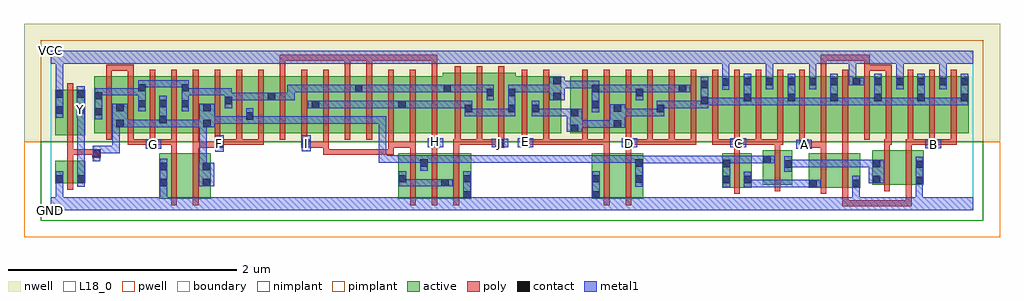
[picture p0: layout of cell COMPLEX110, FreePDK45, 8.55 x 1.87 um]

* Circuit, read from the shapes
.subckt COMPLEX110 A B C D E F G GND H I J VCC Y
M1 Y n1 GND VSUBS nfet w=0.2u l=0.05u
M2 n2 G GND VSUBS nfet w=0.4u l=0.05u
M3 n1 F n2 VSUBS nfet w=0.4u l=0.05u
M4 n1 I n3 VSUBS nfet w=0.4u l=0.05u
M5 n3 H n1 VSUBS nfet w=0.4u l=0.05u
M6 GND J n3 VSUBS nfet w=0.4u l=0.05u
M7 n4 E GND VSUBS nfet w=0.4u l=0.05u
M8 n1 D n4 VSUBS nfet w=0.4u l=0.05u
M9 n5 C n1 VSUBS nfet w=0.3u l=0.05u
M10 n6 C n1 VSUBS nfet w=0.3u l=0.05u
M11 n7 A n5 VSUBS nfet w=0.3u l=0.05u
M12 GND B n7 VSUBS nfet w=0.3u l=0.05u
M13 n8 A n6 VSUBS nfet w=0.3u l=0.05u
M14 GND B n8 VSUBS nfet w=0.3u l=0.05u
M15 Y n1 VCC n9 pfet w=0.4u l=0.05u
M16 n1 G n10 n9 pfet w=0.5u l=0.05u m=4
M17 n1 F n10 n9 pfet w=0.5u l=0.05u m=4
M18 n11 H n10 n9 pfet w=0.5u l=0.05u
M19 n12 I n11 n9 pfet w=0.5u l=0.05u
M20 n13 I n12 n9 pfet w=0.5u l=0.05u
M21 n10 H n13 n9 pfet w=0.5u l=0.05u
M22 n14 H n10 n9 pfet w=0.5u l=0.05u
M23 n12 I n14 n9 pfet w=0.5u l=0.05u
M24 n15 I n12 n9 pfet w=0.5u l=0.05u
M25 n10 H n15 n9 pfet w=0.5u l=0.05u
M26 n12 J n10 n9 pfet w=0.532u l=0.05u m=3
M27 n16 E n12 n9 pfet w=0.5u l=0.05u m=4
M28 n12 D n16 n9 pfet w=0.5u l=0.05u m=4
M29 VCC C n16 n9 pfet w=0.5u l=0.05u m=4
M30 VCC A n16 n9 pfet w=0.5u l=0.05u m=4
M31 VCC B n16 n9 pfet w=0.5u l=0.05u m=4
.ends

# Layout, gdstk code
import gdstk
lib = gdstk.Library(unit=1e-6, precision=1e-09)
def R(c, l, rs):  # rectangles x0, y0, x1, y1
    for r in rs: c.add(gdstk.rectangle(r[:2], r[2:], *l))
def A(c, l, x, y, w, h, nx, ny, dx, dy):  # array of equal rectangles
    R(c, l, [(x+i*dx, y+j*dy, x+i*dx+w, y+j*dy+h) for i in range(nx) for j in range(ny)])
active = (1, 0)
pwell = (2, 0)
nwell = (3, 0)
nimplant = (4, 0)
pimplant = (5, 0)
poly = (9, 0)
contact = (10, 0)
metal1 = (11, 0)
L18_0 = (18, 0)
boundary = (235, 0)

complex110 = lib.new_cell('COMPLEX110')
A(complex110, active, 2.125, 0.675, 0.23, 0.5, 3, 1, 0.38, 0)
A(complex110, active, 2.28, 0.675, 0.225, 0.5, 3, 1, 0.38, 0)
A(complex110, active, 4.55, 0.675, 0.26, 0.5, 3, 1, 0.57, 0)
A(complex110, active, 4.735, 0.675, 0.265, 0.5, 3, 1, 0.57, 0)
A(complex110, active, 4.925, 0.675, 0.27, 0.5, 3, 1, 0.57, 0)
A(complex110, active, 0.76, 0.762, 0.075, 0.405, 3, 1, 0.38, 0)
R(complex110, active, [(0.95,0.1,1.175,0.5), (1.175,0.1,1.4,0.5), (3.042,0.1,3.307,0.5), (3.232,0.1,3.492,0.5), (3.417,0.1,3.682,0.5), (3.607,0.1,3.682,0.5), (4.74,0.1,4.965,0.5), (4.74,0.1,4.815,0.5), (4.965,0.1,5.19,0.5), (0.95,0.147,1.025,0.5), (1.325,0.147,1.4,0.5), (3.042,0.147,3.117,0.5), (3.232,0.147,3.307,0.492), (3.417,0.147,3.492,0.492), (5.115,0.147,5.19,0.5), (5.88,0.2,6.14,0.5), (6.065,0.2,6.14,0.5), (6.64,0.2,6.865,0.5), (6.64,0.2,6.715,0.5), (6.865,0.2,7.09,0.5), (7.015,0.2,7.09,0.5), (5.88,0.207,5.955,0.5), (6.237,0.225,6.497,0.525), (7.195,0.225,7.42,0.525), (7.195,0.225,7.27,0.525), (7.42,0.225,7.645,0.525), (7.57,0.227,7.645,0.525), (0.04,0.237,0.115,0.437), (0.04,0.237,0.3,0.437), (0.225,0.237,0.3,0.437), (6.237,0.247,6.312,0.525), (6.422,0.247,6.497,0.525), (0.04,0.657,0.115,1.057), (0.04,0.657,0.3,1.057), (0.225,0.657,0.3,1.057), (0.38,0.675,0.455,1.167), (0.38,0.675,0.645,1.175), (0.57,0.675,0.835,1.175), (0.57,0.675,0.645,1.07), (0.76,0.675,1.02,1.175), (0.945,0.675,1.215,1.175), (0.945,0.675,1.02,1.07), (1.14,0.675,1.405,1.175), (1.33,0.675,1.595,1.175), (1.33,0.675,1.405,1.07), (1.52,0.675,1.78,1.175), (1.705,0.675,1.97,1.175), (1.705,0.675,1.78,1.07), (1.895,0.675,2.125,1.175), (3.265,0.675,3.51,1.175), (3.435,0.675,3.695,1.207), (3.62,0.675,3.887,1.207), (3.812,0.675,4.075,1.207), (4,0.675,4.285,1.175), (4.21,0.675,4.47,1.175), (4.395,0.675,4.47,1.175), (4.55,0.675,4.625,1.07), (4.735,0.675,4.81,1.167), (4.925,0.675,5,1.07), (5.305,0.675,5.38,1.07), (5.69,0.675,5.765,1.167), (6.065,0.675,6.14,1.167), (6.26,0.675,6.525,1.175), (6.26,0.675,6.335,1.175), (6.45,0.675,6.712,1.175), (6.637,0.675,6.9,1.175), (6.825,0.675,7.095,1.175), (6.825,0.675,6.9,1.175), (7.02,0.675,7.095,1.167), (7.02,0.675,7.285,1.175), (7.21,0.675,7.475,1.175), (7.4,0.675,7.66,1.175), (7.585,0.675,7.855,1.175), (7.78,0.675,8.04,1.175), (7.78,0.675,7.855,1.167), (7.965,0.675,8.04,1.165), (2.28,0.682,2.355,1.07), (3.04,0.682,3.115,1.07), (5.495,0.682,5.57,1.167), (6.45,0.682,6.525,1.175), (7.21,0.682,7.285,1.175), (7.4,0.682,7.475,1.175), (7.585,0.682,7.66,1.167), (5.875,0.722,5.95,1.175), (6.637,0.722,6.712,1.175), (1.895,0.762,1.97,1.167), (2.66,0.762,2.735,1.157), (3.62,0.762,3.695,1.07), (3.812,0.762,3.887,1.19), (4,0.795,4.075,1.157), (4.21,0.795,4.285,1.07), (3.435,0.802,3.51,1.167), (5.12,0.802,5.195,1.175)])
R(complex110, pwell, [(-0.235,-0.235,8.315,0.602)])
R(complex110, nwell, [(-0.235,0.602,8.315,1.635)])
R(complex110, nimplant, [(-0.09,-0.09,8.17,0.602)])
R(complex110, pimplant, [(-0.09,0.602,8.17,1.49)])
A(complex110, poly, 3.147, 0.045, 0.05, 0.51, 3, 1, 0.19, 0)
A(complex110, poly, 0.675, 0.575, 0.05, 0.095, 3, 1, 0.19, 0)
A(complex110, poly, 1.435, 0.575, 0.05, 0.095, 3, 1, 0.19, 0)
A(complex110, poly, 3.54, 0.575, 0.05, 0.095, 3, 1, 0.19, 0)
A(complex110, poly, 4.655, 0.575, 0.05, 0.095, 11, 1, 0.19, 0)
A(complex110, poly, 7.315, 0.575, 0.05, 0.095, 4, 1, 0.19, 0)
A(complex110, poly, 0.485, 0.62, 0.05, 0.61, 16, 1, 0.19, 0)
A(complex110, poly, 3.54, 0.62, 0.05, 0.642, 3, 1, 0.19, 0)
A(complex110, poly, 4.655, 0.62, 0.05, 0.61, 18, 1, 0.19, 0)
R(complex110, poly, [(6.935,0.037,6.985,0.087), (6.935,0.037,6.985,0.087), (6.935,0.037,6.985,0.087), (6.935,0.037,7.217,0.087), (6.935,0.037,6.985,0.195), (7.167,0.037,7.217,0.087), (7.167,0.037,7.217,0.087), (7.167,0.037,7.217,0.087), (7.167,0.037,7.35,0.087), (7.3,0.037,7.35,0.087), (7.3,0.037,7.54,0.087), (7.49,0.037,7.54,0.087), (7.49,0.037,7.54,0.087), (7.49,0.037,7.54,0.087), (7.49,0.037,7.54,0.22), (1.055,0.045,1.105,0.555), (1.245,0.045,1.295,0.555), (4.845,0.045,4.895,0.555), (5.035,0.045,5.085,0.555), (5.985,0.145,6.035,0.555), (6.745,0.145,6.795,0.555), (6.935,0.145,6.985,0.555), (6.342,0.17,6.392,0.58), (7.3,0.17,7.35,0.58), (7.49,0.17,7.54,0.58), (0.145,0.182,0.195,0.492), (0.145,0.442,0.195,0.537), (0.362,0.462,0.437,0.537), (0.145,0.487,0.195,0.537), (0.145,0.487,0.195,0.537), (0.145,0.487,0.195,0.537), (0.145,0.487,0.412,0.537), (0.145,0.487,0.195,0.652), (0.362,0.487,0.412,0.537), (0.362,0.487,0.412,0.537), (2.385,0.487,2.567,0.537), (2.385,0.487,2.435,0.6), (2.517,0.487,2.567,0.537), (2.517,0.487,2.567,0.537), (2.517,0.487,2.567,0.537), (2.517,0.487,2.872,0.537), (2.822,0.487,2.872,0.537), (2.822,0.487,2.872,0.537), (2.822,0.487,2.872,0.537), (2.822,0.487,3.005,0.537), (2.955,0.487,3.005,0.6), (1.055,0.505,1.105,0.625), (1.245,0.505,1.295,0.6), (3.147,0.505,3.197,0.6), (3.337,0.505,3.387,0.6), (3.527,0.505,3.577,0.625), (4.845,0.505,4.895,0.625), (5.035,0.505,5.085,0.6), (5.985,0.505,6.035,0.6), (6.745,0.505,6.795,0.6), (6.935,0.505,6.985,0.625), (6.342,0.53,6.392,0.625), (7.3,0.53,7.35,0.625), (7.49,0.53,7.54,0.625), (0.862,0.55,0.937,0.625), (1.245,0.55,1.295,0.6), (1.245,0.55,1.485,0.6), (1.245,0.55,1.295,0.67), (1.435,0.55,1.485,0.6), (1.435,0.55,1.485,0.6), (1.435,0.55,1.512,0.625), (2.195,0.55,2.27,0.625), (2.22,0.55,2.435,0.6), (2.385,0.55,2.435,0.6), (2.385,0.55,2.435,0.6), (2.385,0.55,2.435,0.67), (2.955,0.55,3.005,0.6), (2.955,0.55,3.005,0.6), (2.955,0.55,3.195,0.6), (2.955,0.55,3.005,0.67), (3.145,0.55,3.195,0.6), (3.145,0.55,3.195,0.6), (3.145,0.55,3.195,0.67), (3.145,0.55,3.197,0.6), (3.332,0.55,3.407,0.625), (3.895,0.55,3.97,0.625), (4.122,0.55,4.197,0.625), (5.032,0.55,5.107,0.625), (5.985,0.55,6.06,0.625), (6.555,0.55,6.637,0.625), (6.587,0.55,6.637,0.6), (6.587,0.55,6.637,0.6), (6.587,0.55,6.795,0.6), (6.745,0.55,6.795,0.6), (6.745,0.55,6.795,0.67), (7.695,0.55,7.77,0.625), (0.675,0.575,0.725,0.625), (0.675,0.575,0.912,0.625), (0.862,0.575,0.912,0.625), (0.862,0.575,0.912,0.625), (0.887,0.575,1.105,0.625), (1.055,0.575,1.105,0.625), (1.055,0.575,1.105,0.625), (1.055,0.575,1.105,0.625), (1.462,0.575,1.617,0.625), (1.567,0.575,1.617,0.625), (1.567,0.575,1.675,0.625), (1.625,0.575,1.675,0.625), (1.625,0.575,1.865,0.625), (1.815,0.575,1.865,0.625), (1.815,0.575,1.865,0.625), (1.815,0.575,1.865,0.625), (2.195,0.575,2.245,0.67), (3.335,0.575,3.385,0.67), (3.527,0.575,3.59,0.625), (3.54,0.575,3.59,0.625), (3.54,0.575,3.59,0.625), (3.54,0.575,3.78,0.625), (3.73,0.575,3.78,0.625), (3.73,0.575,3.945,0.625), (3.895,0.575,3.945,0.625), (3.895,0.575,3.945,0.625), (4.125,0.575,4.175,0.67), (4.147,0.575,4.197,0.625), (4.147,0.575,4.197,0.625), (4.147,0.575,4.365,0.625), (4.315,0.575,4.365,0.67), (4.315,0.575,4.365,0.625), (4.315,0.575,4.365,0.625), (4.315,0.575,4.365,0.625), (4.315,0.575,4.705,0.625), (4.655,0.575,4.705,0.625), (4.655,0.575,4.705,0.625), (4.655,0.575,4.705,0.625), (4.655,0.575,4.895,0.625), (4.845,0.575,4.895,0.625), (4.845,0.575,4.895,0.625), (4.845,0.575,4.895,0.625), (5.057,0.575,5.275,0.625), (5.225,0.575,5.275,0.625), (5.225,0.575,5.275,0.625), (5.225,0.575,5.275,0.625), (5.225,0.575,5.465,0.625), (5.415,0.575,5.465,0.625), (5.415,0.575,5.465,0.625), (5.415,0.575,5.465,0.625), (5.415,0.575,5.655,0.625), (5.605,0.575,5.655,0.625), (5.605,0.575,5.655,0.625), (5.605,0.575,5.655,0.625), (5.795,0.575,5.845,0.625), (5.795,0.575,5.845,0.625), (5.795,0.575,5.845,0.625), (5.795,0.575,6.035,0.625), (6.01,0.575,6.225,0.625), (6.175,0.575,6.225,0.625), (6.175,0.575,6.225,0.625), (6.175,0.575,6.225,0.625), (6.175,0.575,6.392,0.625), (6.342,0.575,6.392,0.625), (6.342,0.575,6.392,0.625), (6.342,0.575,6.415,0.625), (6.935,0.575,6.985,0.67), (6.935,0.575,6.985,0.625), (7.3,0.575,7.365,0.625), (7.49,0.575,7.555,0.625), (7.505,0.575,7.745,0.625), (7.695,0.575,7.745,0.625), (7.695,0.575,7.745,0.625), (7.72,0.575,7.935,0.625), (7.885,0.575,7.935,0.625), (7.885,0.575,7.935,0.625), (7.885,0.575,7.935,0.625), (0.145,0.602,0.195,1.112), (4.125,0.62,4.175,1.23), (4.315,0.62,4.365,1.23), (0.485,1.18,0.535,1.275), (0.675,1.18,0.725,1.275), (2.005,1.18,2.055,1.362), (2.575,1.18,2.625,1.362), (2.765,1.18,2.815,1.362), (3.335,1.18,3.385,1.362), (6.745,1.18,6.795,1.362), (7.125,1.18,7.175,1.275), (7.315,1.18,7.365,1.275), (0.485,1.225,0.535,1.275), (0.485,1.225,0.725,1.275), (0.675,1.225,0.725,1.275), (0.675,1.225,0.725,1.275), (0.675,1.225,0.725,1.275), (7.125,1.225,7.175,1.275), (7.125,1.225,7.175,1.275), (7.125,1.225,7.365,1.275), (7.125,1.225,7.175,1.362), (7.315,1.225,7.365,1.275), (2.005,1.312,2.055,1.362), (2.005,1.312,2.055,1.362), (2.005,1.312,2.055,1.362), (2.005,1.312,2.225,1.362), (2.175,1.312,2.225,1.362), (2.175,1.312,2.225,1.362), (2.175,1.312,2.225,1.362), (2.175,1.312,2.402,1.362), (2.352,1.312,2.402,1.362), (2.352,1.312,2.625,1.362), (2.575,1.312,2.625,1.362), (2.575,1.312,2.625,1.362), (2.575,1.312,2.625,1.362), (2.575,1.312,2.815,1.362), (2.765,1.312,2.815,1.362), (2.765,1.312,2.815,1.362), (2.765,1.312,2.815,1.362), (2.765,1.312,3.062,1.362), (3.012,1.312,3.062,1.362), (3.012,1.312,3.062,1.362), (3.012,1.312,3.062,1.362), (3.012,1.312,3.195,1.362), (3.145,1.312,3.195,1.362), (3.145,1.312,3.195,1.362), (3.145,1.312,3.195,1.362), (3.145,1.312,3.385,1.362), (3.335,1.312,3.385,1.362), (3.335,1.312,3.385,1.362), (3.335,1.312,3.385,1.362), (6.745,1.312,6.795,1.362), (6.745,1.312,6.795,1.362), (6.745,1.312,6.795,1.362), (6.745,1.312,6.927,1.362), (6.877,1.312,6.927,1.362), (6.877,1.312,6.927,1.362), (6.877,1.312,6.927,1.362), (6.877,1.312,7.175,1.362)])
A(complex110, contact, 7.025, 1.095, 0.065, 0.065, 3, 1, 0.19, 0)
R(complex110, contact, [(3.612,0.105,3.677,0.17), (4.745,0.105,4.81,0.17), (6.645,0.205,6.71,0.27), (7.02,0.205,7.085,0.27), (3.422,0.21,3.487,0.275), (0.955,0.212,1.02,0.277), (1.33,0.212,1.395,0.277), (7.575,0.232,7.64,0.297), (7.2,0.237,7.265,0.302), (5.885,0.24,5.95,0.305), (6.07,0.24,6.135,0.305), (0.045,0.242,0.11,0.307), (0.23,0.242,0.295,0.307), (5.12,0.242,5.185,0.307), (3.047,0.245,3.112,0.31), (3.612,0.245,3.677,0.31), (4.745,0.245,4.81,0.31), (0.955,0.352,1.02,0.417), (1.33,0.352,1.395,0.417), (7.575,0.372,7.64,0.437), (6.427,0.375,6.492,0.44), (7.2,0.377,7.265,0.442), (5.885,0.38,5.95,0.445), (3.237,0.382,3.302,0.447), (5.12,0.382,5.185,0.447), (6.242,0.412,6.307,0.477), (0.367,0.467,0.432,0.532), (0.867,0.555,0.932,0.62), (1.442,0.555,1.507,0.62), (2.2,0.555,2.265,0.62), (3.337,0.555,3.402,0.62), (3.9,0.555,3.965,0.62), (4.127,0.555,4.192,0.62), (5.037,0.555,5.102,0.62), (5.99,0.555,6.055,0.62), (6.567,0.555,6.632,0.62), (7.7,0.555,7.765,0.62), (4.555,0.687,4.62,0.752), (4.93,0.725,4.995,0.79), (0.575,0.73,0.64,0.795), (1.335,0.73,1.4,0.795), (0.95,0.765,1.015,0.83), (1.71,0.795,1.775,0.86), (4.555,0.827,4.62,0.892), (0.385,0.832,0.45,0.897), (0.045,0.847,0.11,0.912), (0.23,0.847,0.295,0.912), (3.625,0.862,3.69,0.927), (4.005,0.862,4.07,0.927), (4.215,0.862,4.28,0.927), (5.31,0.862,5.375,0.927), (4.93,0.865,4.995,0.93), (0.575,0.87,0.64,0.935), (1.335,0.87,1.4,0.935), (2.285,0.897,2.35,0.962), (3.045,0.897,3.11,0.962), (4.74,0.897,4.805,0.962), (0.765,0.902,0.83,0.967), (1.145,0.902,1.21,0.967), (0.95,0.905,1.015,0.97), (1.525,0.932,1.59,0.997), (5.695,0.932,5.76,0.997), (6.07,0.955,6.135,1.02), (6.455,0.955,6.52,1.02), (6.83,0.955,6.895,1.02), (7.215,0.955,7.28,1.02), (7.59,0.955,7.655,1.02), (7.97,0.955,8.035,1.02), (4.4,0.965,4.465,1.03), (1.9,0.967,1.965,1.032), (0.385,0.972,0.45,1.037), (0.045,0.987,0.11,1.052), (0.23,0.987,0.295,1.052), (3.817,1,3.882,1.065), (5.125,1,5.19,1.065), (4.005,1.002,4.07,1.067), (2.665,1.035,2.73,1.1), (3.44,1.035,3.505,1.1), (5.5,1.035,5.565,1.1), (4.74,1.037,4.805,1.102), (0.765,1.042,0.83,1.107), (1.145,1.042,1.21,1.107), (5.695,1.072,5.76,1.137), (5.88,1.092,5.945,1.157), (6.07,1.095,6.135,1.16), (6.265,1.095,6.33,1.16), (6.455,1.095,6.52,1.16), (6.642,1.095,6.707,1.16), (6.83,1.095,6.895,1.16), (7.59,1.095,7.655,1.16), (7.785,1.095,7.85,1.16), (7.97,1.095,8.035,1.16), (4.4,1.105,4.465,1.17)])
A(complex110, metal1, 3.047, 0.21, 0.065, 0.065, 3, 1, 0.17, 0)
R(complex110, metal1, [(0,0,8.08,0.115), (0.045,0.05,0.11,0.115), (0.045,0.05,0.11,0.115), (0.045,0.05,0.11,0.272), (0.955,0.05,1.02,0.242), (3.612,0.05,3.677,0.135), (4.745,0.05,4.81,0.135), (7.02,0.05,7.085,0.115), (7.02,0.05,7.085,0.115), (7.02,0.05,7.085,0.235), (7.575,0.05,7.64,0.262), (3.612,0.07,3.677,0.345), (4.745,0.07,4.81,0.345), (7.02,0.17,7.085,0.305), (0.955,0.177,1.02,0.452), (7.575,0.197,7.64,0.472), (7.575,0.197,7.64,0.262), (7.575,0.197,7.64,0.262), (5.885,0.205,5.95,0.48), (6.07,0.205,6.135,0.27), (6.07,0.205,6.135,0.27), (6.07,0.205,6.135,0.34), (6.07,0.205,6.272,0.27), (6.207,0.205,6.41,0.27), (6.207,0.205,6.272,0.27), (6.345,0.205,6.41,0.27), (6.345,0.205,6.41,0.27), (6.345,0.205,6.41,0.27), (6.345,0.205,6.62,0.27), (6.555,0.205,6.62,0.27), (6.555,0.205,6.675,0.27), (6.61,0.205,6.745,0.27), (0.045,0.207,0.11,0.272), (0.045,0.207,0.11,0.272), (0.045,0.207,0.11,0.342), (0.23,0.207,0.295,0.342), (5.12,0.207,5.185,0.482), (3.047,0.21,3.112,0.275), (3.047,0.21,3.112,0.345), (3.047,0.21,3.282,0.275), (3.217,0.21,3.452,0.275), (3.387,0.21,3.452,0.275), (3.387,0.21,3.522,0.275), (1.295,0.212,1.43,0.417), (7.165,0.237,7.3,0.442), (0.23,0.277,0.295,0.342), (0.23,0.277,0.295,0.342), (0.23,0.277,0.295,0.342), (0.23,0.277,0.295,0.342), (0.23,0.277,0.295,0.342), (0.23,0.277,0.295,0.342), (0.23,0.277,0.295,0.877), (6.427,0.34,6.492,0.475), (3.237,0.347,3.302,0.482), (1.3,0.352,1.365,0.795), (6.427,0.377,6.547,0.442), (6.482,0.377,6.547,0.442), (6.482,0.377,6.657,0.442), (6.592,0.377,6.657,0.442), (6.592,0.377,6.757,0.442), (6.692,0.377,6.895,0.442), (6.692,0.377,6.757,0.442), (6.83,0.377,6.895,0.442), (6.83,0.377,6.895,0.442), (6.83,0.377,6.895,0.442), (6.83,0.377,7.092,0.442), (7.027,0.377,7.23,0.442), (7.027,0.377,7.092,0.442), (7.165,0.377,7.23,0.442), (7.165,0.377,7.23,0.442), (5.885,0.412,5.95,0.477), (5.885,0.412,5.95,0.477), (5.885,0.412,6.135,0.477), (6.07,0.412,6.135,0.477), (6.07,0.412,6.135,0.477), (6.07,0.412,6.135,0.477), (6.07,0.412,6.272,0.477), (6.207,0.412,6.342,0.477), (5.12,0.415,5.185,0.48), (5.12,0.415,5.185,0.48), (5.12,0.415,5.327,0.48), (5.262,0.415,5.327,0.48), (5.262,0.415,5.327,0.48), (5.262,0.415,5.327,0.48), (5.262,0.415,5.622,0.48), (5.557,0.415,5.76,0.48), (5.557,0.415,5.622,0.48), (5.557,0.415,5.622,0.48), (5.557,0.415,5.622,0.48), (5.695,0.415,5.76,0.48), (5.695,0.415,5.812,0.48), (5.747,0.415,5.95,0.48), (5.747,0.415,5.812,0.48), (2.872,0.417,3.075,0.482), (2.872,0.417,2.937,0.482), (2.872,0.417,2.937,0.482), (2.872,0.417,2.937,0.482), (2.872,0.417,2.937,0.482), (2.872,0.417,2.937,0.482), (2.872,0.417,2.937,0.825), (3.01,0.417,3.075,0.482), (3.01,0.417,3.075,0.482), (3.01,0.417,3.075,0.482), (3.01,0.417,3.302,0.482), (3.237,0.417,3.44,0.482), (3.375,0.417,3.44,0.482), (3.375,0.417,3.44,0.482), (3.375,0.417,3.44,0.482), (3.375,0.417,3.607,0.482), (3.542,0.417,3.745,0.482), (3.542,0.417,3.607,0.482), (3.68,0.417,3.745,0.482), (3.68,0.417,3.745,0.482), (3.68,0.417,3.745,0.482), (3.68,0.417,3.882,0.482), (3.817,0.417,4.02,0.482), (3.817,0.417,3.882,0.482), (3.955,0.417,4.02,0.482), (3.955,0.417,4.02,0.482), (3.955,0.417,4.02,0.482), (3.955,0.417,4.207,0.482), (4.142,0.417,4.207,0.482), (4.142,0.417,4.207,0.482), (4.142,0.417,4.207,0.482), (4.142,0.417,4.417,0.482), (4.352,0.417,4.417,0.482), (4.352,0.417,4.417,0.482), (4.352,0.417,4.417,0.482), (4.352,0.417,4.637,0.482), (4.572,0.417,4.637,0.482), (4.572,0.417,4.637,0.482), (4.572,0.417,4.637,0.482), (4.572,0.417,4.822,0.482), (4.757,0.417,4.96,0.482), (4.757,0.417,4.822,0.482), (4.757,0.417,4.822,0.482), (4.757,0.417,4.822,0.482), (4.895,0.417,4.96,0.482), (4.895,0.417,4.96,0.482), (4.895,0.417,4.96,0.482), (4.895,0.417,5.185,0.482), (0.367,0.432,0.432,0.567), (0.367,0.502,0.605,0.567), (0.54,0.502,0.605,0.567), (0.54,0.502,0.605,0.795), (1.442,0.512,1.515,0.657), (2.2,0.52,2.275,0.66), (0.832,0.542,0.967,0.62), (6.532,0.542,6.667,0.62), (7.66,0.545,7.8,0.62), (3.302,0.555,3.437,0.632), (3.862,0.555,4.005,0.627), (4.092,0.555,4.227,0.632), (5.002,0.555,5.137,0.632), (5.952,0.555,6.09,0.632), (4.52,0.687,4.655,0.892), (4.59,0.725,4.655,0.79), (4.59,0.725,4.655,0.79), (4.59,0.725,4.822,0.79), (4.757,0.725,4.96,0.79), (4.757,0.725,4.822,0.79), (4.757,0.725,4.822,0.79), (4.757,0.725,4.822,0.79), (4.895,0.725,5.03,0.93), (0.54,0.73,0.675,0.935), (0.61,0.73,0.675,0.795), (0.61,0.73,0.675,0.795), (0.61,0.73,0.877,0.795), (0.812,0.73,1.015,0.795), (0.812,0.73,0.877,0.795), (0.812,0.73,0.877,0.795), (0.812,0.73,0.877,0.795), (0.95,0.73,1.015,1.005), (0.95,0.73,1.015,0.795), (0.95,0.73,1.015,0.795), (0.95,0.73,1.152,0.795), (1.087,0.73,1.152,0.795), (1.087,0.73,1.152,0.795), (1.087,0.73,1.152,0.795), (1.087,0.73,1.365,0.795), (1.3,0.73,1.365,0.795), (1.3,0.73,1.365,0.795), (1.3,0.73,1.435,0.935), (1.37,0.76,1.435,0.825), (1.37,0.76,1.435,0.825), (1.37,0.76,1.637,0.825), (1.572,0.76,1.637,0.825), (1.572,0.76,1.725,0.825), (1.66,0.76,1.725,0.825), (1.66,0.76,1.775,0.825), (1.71,0.76,1.775,0.895), (1.71,0.76,1.862,0.825), (1.797,0.76,2,0.825), (1.797,0.76,1.862,0.825), (1.935,0.76,2,0.825), (1.935,0.76,2,0.825), (1.935,0.76,2,0.825), (1.935,0.76,2.177,0.825), (2.112,0.76,2.177,0.825), (2.112,0.76,2.177,0.825), (2.112,0.76,2.177,0.825), (2.112,0.76,2.385,0.825), (2.32,0.76,2.385,0.825), (2.32,0.76,2.385,0.825), (2.32,0.76,2.385,0.825), (2.32,0.76,2.525,0.825), (2.46,0.76,2.525,0.825), (2.46,0.76,2.525,0.825), (2.46,0.76,2.525,0.825), (2.46,0.76,2.8,0.825), (2.735,0.76,2.8,0.825), (2.735,0.76,2.8,0.825), (2.735,0.76,2.8,0.825), (2.735,0.76,2.937,0.825), (2.872,0.76,2.937,0.825), (0.385,0.797,0.45,1.072), (0.045,0.812,0.11,1.087), (0.227,0.812,0.295,1.087), (3.625,0.827,3.69,0.962), (3.625,0.827,3.745,0.892), (3.68,0.827,3.745,0.892), (3.68,0.827,3.882,0.892), (3.817,0.827,3.882,0.892), (3.817,0.827,3.882,0.892), (3.817,0.827,3.882,0.892), (3.817,0.827,4.07,0.892), (4.005,0.827,4.07,1.102), (4.215,0.827,4.28,0.962), (4.215,0.827,4.447,0.892), (4.382,0.827,4.585,0.892), (4.382,0.827,4.447,0.892), (4.382,0.827,4.447,0.892), (4.382,0.827,4.447,0.892), (4.965,0.827,5.03,0.892), (4.965,0.827,5.03,0.892), (4.965,0.827,5.167,0.892), (5.102,0.827,5.167,0.892), (5.102,0.827,5.167,0.892), (5.102,0.827,5.167,0.892), (5.102,0.827,5.375,0.892), (5.31,0.827,5.375,0.962), (4.74,0.862,4.805,1.137), (0.765,0.867,0.83,1.142), (1.145,0.867,1.21,1.142), (1.525,0.897,1.59,1.032), (2.25,0.897,2.385,0.962), (2.32,0.897,2.385,0.962), (2.32,0.897,2.385,0.962), (2.32,0.897,2.525,0.962), (2.46,0.897,2.525,0.962), (2.46,0.897,2.662,0.962), (2.597,0.897,2.8,0.962), (2.597,0.897,2.662,0.962), (2.597,0.897,2.662,0.962), (2.597,0.897,2.662,0.962), (2.735,0.897,2.8,0.962), (2.735,0.897,2.937,0.962), (2.872,0.897,3.075,0.962), (2.872,0.897,2.937,0.962), (2.872,0.897,2.937,0.962), (2.872,0.897,2.937,0.962), (3.01,0.897,3.145,0.962), (3.08,0.897,3.145,0.962), (3.08,0.897,3.145,0.962), (3.08,0.897,3.282,0.962), (3.217,0.897,3.282,0.962), (3.217,0.897,3.282,0.962), (3.217,0.897,3.282,0.962), (3.217,0.897,3.44,0.962), (3.375,0.897,3.44,0.962), (3.375,0.897,3.607,0.962), (3.542,0.897,3.607,0.962), (3.542,0.897,3.69,0.962), (5.31,0.897,5.375,0.962), (5.31,0.897,5.375,0.962), (5.31,0.897,5.512,0.962), (5.447,0.897,5.512,0.962), (5.447,0.897,5.622,0.962), (5.557,0.897,5.76,0.962), (5.557,0.897,5.622,0.962), (5.695,0.897,5.76,1.172), (5.695,0.92,5.76,0.985), (5.695,0.92,5.76,0.985), (5.695,0.92,5.997,0.985), (5.932,0.92,6.135,0.985), (5.932,0.92,5.997,0.985), (5.932,0.92,5.997,0.985), (5.932,0.92,5.997,0.985), (6.07,0.92,6.135,1.195), (6.07,0.92,6.272,0.985), (6.207,0.92,6.41,0.985), (6.207,0.92,6.272,0.985), (6.207,0.92,6.272,0.985), (6.207,0.92,6.272,0.985), (6.345,0.92,6.41,0.985), (6.345,0.92,6.52,0.985), (6.455,0.92,6.52,1.195), (6.83,0.92,6.895,1.195), (6.83,0.92,6.895,0.985), (6.83,0.92,6.895,0.985), (6.83,0.92,7.092,0.985), (7.027,0.92,7.092,0.985), (7.027,0.92,7.092,0.985), (7.027,0.92,7.092,0.985), (7.027,0.92,7.28,0.985), (7.215,0.92,7.28,1.195), (7.215,0.92,7.367,0.985), (7.302,0.92,7.367,0.985), (7.302,0.92,7.502,0.985), (7.437,0.92,7.502,0.985), (7.437,0.92,7.505,0.985), (7.44,0.92,7.505,0.985), (7.44,0.92,7.655,0.985), (7.59,0.92,7.655,1.195), (7.59,0.92,7.655,0.985), (7.59,0.92,7.655,0.985), (7.59,0.92,7.897,0.985), (7.832,0.92,8.035,0.985), (7.832,0.92,7.897,0.985), (7.832,0.92,7.897,0.985), (7.832,0.92,7.897,0.985), (7.97,0.92,8.035,1.195), (6.455,0.922,6.62,0.987), (6.555,0.922,6.62,0.987), (6.555,0.922,6.657,0.987), (6.592,0.922,6.657,0.987), (6.592,0.922,6.757,0.987), (6.692,0.922,6.895,0.987), (6.692,0.922,6.757,0.987), (3.817,0.965,3.882,1.1), (4.365,0.965,4.5,1.17), (5.125,0.965,5.19,1.1), (1.522,0.967,1.59,1.032), (1.522,0.967,1.587,1.072), (1.525,0.967,1.725,1.032), (1.66,0.967,1.725,1.032), (1.66,0.967,1.775,1.032), (1.71,0.967,1.775,1.032), (1.71,0.967,1.862,1.032), (1.797,0.967,1.862,1.032), (1.797,0.967,1.93,1.032), (1.865,0.967,2,1.032), (1.935,0.967,2,1.032), (1.935,0.967,2,1.032), (1.935,0.967,2,1.032), (1.935,0.967,2,1.032), (1.935,0.967,2.137,1.032), (2.072,0.967,2.137,1.032), (2.072,0.967,2.137,1.032), (2.072,0.967,2.137,1.1), (0.385,1.007,0.45,1.072), (0.385,1.007,0.45,1.072), (0.385,1.007,0.692,1.072), (0.627,1.007,0.83,1.072), (0.627,1.007,0.692,1.072), (0.627,1.007,0.692,1.072), (0.627,1.007,0.692,1.072), (1.145,1.007,1.21,1.072), (1.145,1.007,1.21,1.072), (1.145,1.007,1.452,1.072), (1.387,1.007,1.452,1.072), (1.387,1.007,1.587,1.072), (0.045,1.022,0.11,1.087), (0.045,1.022,0.11,1.087), (0.045,1.022,0.11,1.35), (2.072,1.035,2.385,1.1), (2.32,1.035,2.385,1.1), (2.32,1.035,2.385,1.1), (2.32,1.035,2.385,1.1), (2.32,1.035,2.522,1.1), (2.457,1.035,2.522,1.1), (2.457,1.035,2.522,1.1), (2.457,1.035,2.522,1.1), (2.457,1.035,2.695,1.1), (2.63,1.035,2.765,1.1), (2.7,1.035,2.8,1.1), (2.735,1.035,2.8,1.1), (2.735,1.035,2.937,1.1), (2.872,1.035,3.075,1.1), (2.872,1.035,2.937,1.1), (2.872,1.035,2.937,1.1), (2.872,1.035,2.937,1.1), (3.01,1.035,3.075,1.1), (3.01,1.035,3.075,1.1), (3.01,1.035,3.075,1.1), (3.01,1.035,3.302,1.1), (3.237,1.035,3.302,1.1), (3.237,1.035,3.47,1.1), (3.405,1.035,3.47,1.1), (3.405,1.035,3.47,1.1), (3.405,1.035,3.54,1.1), (3.475,1.035,3.607,1.1), (3.542,1.035,3.745,1.1), (3.542,1.035,3.607,1.1), (3.68,1.035,3.745,1.1), (3.68,1.035,3.745,1.1), (3.68,1.035,3.745,1.1), (3.68,1.035,3.882,1.1), (4.74,1.035,4.805,1.1), (4.74,1.035,4.805,1.1), (4.74,1.035,4.96,1.1), (4.895,1.035,4.96,1.1), (4.895,1.035,4.96,1.1), (4.895,1.035,4.96,1.1), (4.895,1.035,5.19,1.1), (5.125,1.035,5.19,1.1), (5.125,1.035,5.19,1.1), (5.125,1.035,5.375,1.1), (5.31,1.035,5.375,1.1), (5.31,1.035,5.375,1.1), (5.31,1.035,5.375,1.1), (5.31,1.035,5.53,1.1), (5.465,1.035,5.6,1.1), (4.005,1.037,4.207,1.102), (4.142,1.037,4.207,1.102), (4.142,1.037,4.207,1.102), (4.142,1.037,4.207,1.102), (4.142,1.037,4.43,1.102), (4.365,1.037,4.43,1.102), (4.365,1.037,4.43,1.102), (5.88,1.057,5.945,1.192), (6.265,1.06,6.33,1.195), (6.642,1.06,6.707,1.195), (7.405,1.06,7.47,1.195), (7.785,1.06,7.85,1.195), (4.435,1.072,4.637,1.137), (4.572,1.072,4.637,1.137), (4.572,1.072,4.637,1.137), (4.572,1.072,4.637,1.137), (4.572,1.072,4.805,1.137), (0.765,1.077,0.83,1.142), (0.765,1.077,0.83,1.142), (0.765,1.077,1.015,1.142), (0.95,1.077,1.015,1.142), (0.95,1.077,1.015,1.142), (0.95,1.077,1.015,1.142), (0.95,1.077,1.21,1.142), (6.99,1.095,7.055,1.16), (6.99,1.095,7.055,1.16), (6.99,1.095,7.055,1.35), (6.99,1.095,7.125,1.16), (5.88,1.127,5.945,1.35), (6.265,1.13,6.33,1.35), (6.642,1.13,6.707,1.195), (6.642,1.13,6.707,1.195), (6.642,1.13,6.707,1.35), (7.405,1.13,7.47,1.35), (7.785,1.13,7.85,1.35), (0,1.285,8.08,1.4), (5.88,1.285,5.945,1.35), (5.88,1.285,5.945,1.35), (6.265,1.285,6.33,1.35), (6.265,1.285,6.33,1.35), (7.405,1.285,7.47,1.35), (7.405,1.285,7.47,1.35), (7.785,1.285,7.85,1.35), (7.785,1.285,7.85,1.35)])
R(complex110, L18_0, [(0,0,8.08,0.115), (0.045,0.05,0.11,0.115), (0.045,0.05,0.11,0.115), (0.045,0.05,0.11,0.272), (0.955,0.05,1.02,0.242), (3.612,0.05,3.677,0.135), (4.745,0.05,4.81,0.135), (7.02,0.05,7.085,0.115), (7.02,0.05,7.085,0.115), (7.02,0.05,7.085,0.235), (7.575,0.05,7.64,0.262), (3.612,0.07,3.677,0.345), (4.745,0.07,4.81,0.345), (7.02,0.17,7.085,0.305), (0.955,0.177,1.02,0.452), (7.575,0.197,7.64,0.262), (7.575,0.197,7.64,0.262), (7.575,0.197,7.64,0.472), (0.045,0.207,0.11,0.272), (0.045,0.207,0.11,0.272), (0.045,0.207,0.11,0.342), (0.23,0.207,0.295,0.342), (0.23,0.277,0.295,0.342), (0.23,0.277,0.295,0.342), (0.23,0.277,0.295,0.342), (0.23,0.277,0.295,0.342), (0.23,0.277,0.295,0.342), (0.23,0.277,0.295,0.342), (0.23,0.277,0.295,0.877), (1.442,0.512,1.515,0.657), (2.2,0.52,2.275,0.66), (0.832,0.542,0.967,0.62), (6.532,0.542,6.667,0.62), (7.66,0.545,7.8,0.62), (0.867,0.547,0.932,0.612), (6.567,0.547,6.632,0.612), (7.697,0.547,7.762,0.612), (3.302,0.555,3.437,0.632), (3.862,0.555,4.005,0.627), (4.092,0.555,4.227,0.632), (5.002,0.555,5.137,0.632), (5.952,0.555,6.09,0.632), (1.447,0.557,1.512,0.622), (2.207,0.557,2.272,0.622), (3.897,0.557,3.962,0.622), (5.037,0.557,5.102,0.622), (5.987,0.557,6.052,0.622), (3.337,0.567,3.402,0.632), (4.127,0.567,4.192,0.632), (0.045,0.812,0.11,1.087), (0.227,0.812,0.295,1.087), (0.227,0.847,0.292,0.912), (0.045,1.022,0.11,1.087), (0.045,1.022,0.11,1.087), (0.045,1.022,0.11,1.35), (5.88,1.057,5.945,1.192), (6.265,1.06,6.33,1.195), (6.642,1.06,6.707,1.195), (7.405,1.06,7.47,1.195), (7.785,1.06,7.85,1.195), (6.99,1.095,7.055,1.16), (6.99,1.095,7.055,1.16), (6.99,1.095,7.125,1.16), (6.99,1.095,7.055,1.35), (5.88,1.127,5.945,1.35), (6.265,1.13,6.33,1.35), (6.642,1.13,6.707,1.195), (6.642,1.13,6.707,1.195), (6.642,1.13,6.707,1.35), (7.405,1.13,7.47,1.35), (7.785,1.13,7.85,1.35), (0,1.285,8.08,1.4), (5.88,1.285,5.945,1.35), (5.88,1.285,5.945,1.35), (6.265,1.285,6.33,1.35), (6.265,1.285,6.33,1.35), (7.405,1.285,7.47,1.35), (7.405,1.285,7.47,1.35), (7.785,1.285,7.85,1.35), (7.785,1.285,7.85,1.35)])
R(complex110, boundary, [(0,0,8.08,1.4)])
complex110.add(gdstk.Label('A', (6.6,0.58), layer=11, texttype=0))
complex110.add(gdstk.Label('B', (7.73,0.58), layer=11, texttype=0))
complex110.add(gdstk.Label('C', (6.02,0.59), layer=11, texttype=0))
complex110.add(gdstk.Label('D', (5.07,0.59), layer=11, texttype=0))
complex110.add(gdstk.Label('E', (4.16,0.6), layer=11, texttype=0))
complex110.add(gdstk.Label('F', (1.48,0.59), layer=11, texttype=0))
complex110.add(gdstk.Label('G', (0.9,0.58), layer=11, texttype=0))
complex110.add(gdstk.Label('H', (3.37,0.6), layer=11, texttype=0))
complex110.add(gdstk.Label('I', (2.24,0.59), layer=11, texttype=0))
complex110.add(gdstk.Label('J', (3.93,0.59), layer=11, texttype=0))
complex110.add(gdstk.Label('Y', (0.26,0.88), layer=11, texttype=0))
complex110.add(gdstk.Label('VCC', (0,1.4), layer=11, texttype=0))
complex110.add(gdstk.Label('GND', (0,0), layer=11, texttype=0))

lib.write_gds('COMPLEX110.gds')
